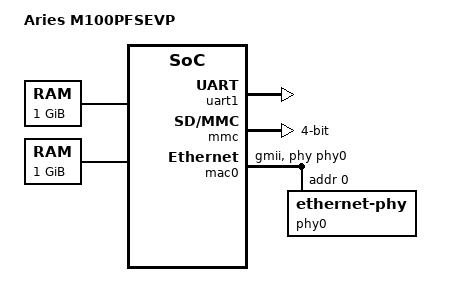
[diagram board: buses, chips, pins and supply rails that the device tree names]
// SPDX-License-Identifier: (GPL-2.0 OR MIT)
/* Copyright (c) Aries Embbedded */

/dts-v1/;

#include "microchip-mpfs.dtsi"

/* Clock frequency (in Hz) of the rtcclk */
#define RTCCLK_FREQ		1000000

/ {
	#address-cells = <2>;
	#size-cells = <2>;
	model = "Aries M100PFSEVP";
	compatible = "aries,m100pfsevp";

	aliases {
		serial1 = &uart1;
		ethernet0 = &mac0;
	};

	chosen {
		stdout-path = "serial1:115200n8";
	};

	cpus {
		timebase-frequency = <RTCCLK_FREQ>;
	};

	ddrc_cache_lo: memory@80000000 {
		device_type = "memory";
		reg = <0x0 0x80000000 0x0 0x40000000>;
	};

	ddrc_cache_hi: memory@1040000000 {
		device_type = "memory";
		reg = <0x10 0x40000000 0x0 0x40000000>;
	};
};

&refclk {
	clock-frequency = <125000000>;
};

&uart1 {
	status = "okay";
};

&mmc {
	status = "okay";
	bus-width = <4>;
	disable-wp;
	cap-mmc-highspeed;
	cap-sd-highspeed;
	card-detect-delay = <200>;
	mmc-ddr-1_8v;
	mmc-hs200-1_8v;
	sd-uhs-sdr12;
	sd-uhs-sdr25;
	sd-uhs-sdr50;
	sd-uhs-sdr104;
};

&mac0 {
	status = "okay";
	phy-mode = "gmii";
	phy-handle = <&phy0>;
	phy0: ethernet-phy@0 {
		reg = <0>;
	};
};

&mac1 {
	status = "disabled";
	phy-mode = "gmii";
	phy-handle = <&phy1>;
	phy1: ethernet-phy@1 {
		reg = <1>;
	};
};
